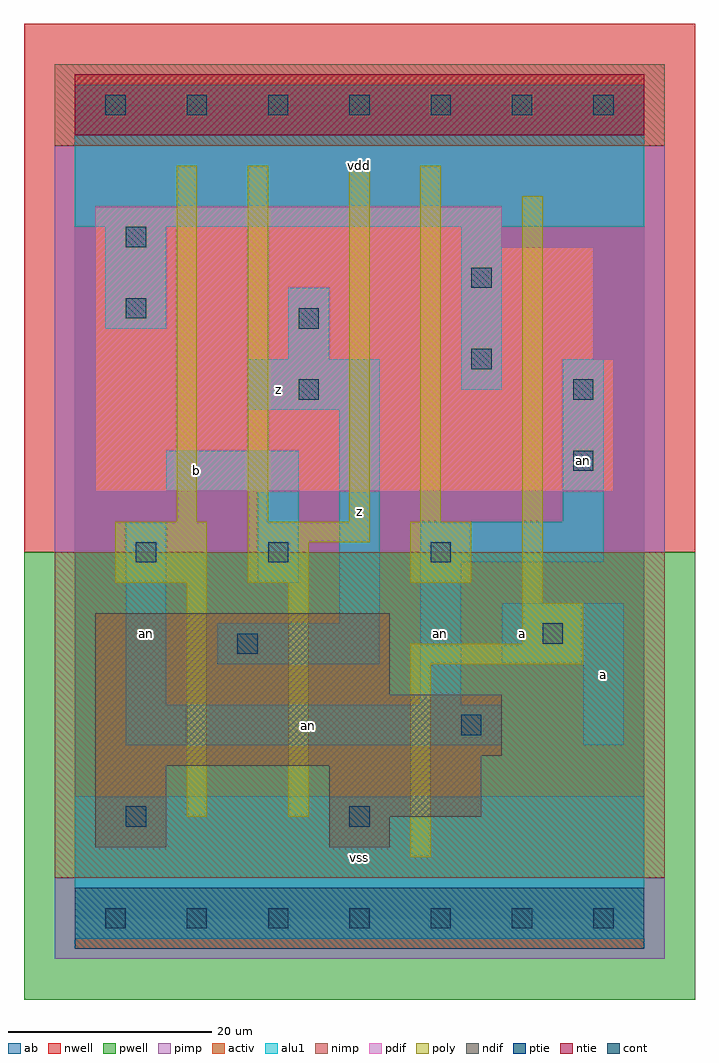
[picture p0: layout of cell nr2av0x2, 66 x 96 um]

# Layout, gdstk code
import gdstk
lib = gdstk.Library(unit=1e-6, precision=1e-09)
def R(c, l, rs):  # rectangles x0, y0, x1, y1
    for r in rs: c.add(gdstk.rectangle(r[:2], r[2:], *l))
def A(c, l, x, y, w, h, nx, ny, dx, dy):  # array of equal rectangles
    R(c, l, [(x+i*dx, y+j*dy, x+i*dx+w, y+j*dy+h) for i in range(nx) for j in range(ny)])
ndif = (3, 0)
pdif = (4, 0)
ntie = (5, 0)
ptie = (6, 0)
cont = (25, 0)
pwell = (41, 0)
nwell = (42, 0)
activ = (43, 0)
pimp = (44, 0)
nimp = (45, 0)
poly = (46, 0)
alu1 = (49, 0)
ab = (63, 0)

nr2av0x2 = lib.new_cell('nr2av0x2')
R(nr2av0x2, ndif, [(2,7,9,15), (25,7,31,10), (25,10,40,15), (2,15,40,16), (2,16,42,22), (2,22,31,30)])
R(nr2av0x2, pdif, [(2,42,53,55), (2,55,51,66), (2,66,42,70)])
R(nr2av0x2, ntie, [(0,77,56,83)])
R(nr2av0x2, ptie, [(0,-3,56,3)])
A(nr2av0x2, cont, 3, -1, 2, 2, 7, 2, 8, 80)
R(nr2av0x2, cont, [(5,9,7,11), (27,9,29,11), (38,18,40,20), (16,26,18,28), (46,27,48,29), (6,35,8,37), (19,35,21,37), (35,35,37,37), (49,44,51,46), (22,51,24,53), (49,51,51,53), (39,54,41,56), (22,58,24,60), (5,59,7,61), (39,62,41,64), (5,66,7,68)])
R(nr2av0x2, pwell, [(-5,-8,61,36)])
R(nr2av0x2, nwell, [(-5,36,61,88)])
R(nr2av0x2, activ, [(0,-3,56,3), (2,7,9,15), (25,7,31,10), (25,10,40,15), (2,15,40,16), (2,16,42,22), (2,22,31,30), (2,42,53,55), (2,55,51,66), (2,66,42,70), (0,77,56,83)])
R(nr2av0x2, pimp, [(-2,-4,58,4), (-2,36,58,76)])
R(nr2av0x2, nimp, [(-2,4,58,36), (-2,76,58,84)])
R(nr2av0x2, poly, [(33,6,35,25), (11,10,13,33), (21,10,23,33), (33,25,50,27), (44,27,50,31), (44,31,46,71), (4,33,13,39), (17,33,23,37), (33,33,39,39), (17,37,29,39), (10,39,12,74), (17,39,19,74), (27,39,29,74), (34,39,36,74)])
R(nr2av0x2, alu1, [(0,-2,56,12), (5,17,42,21), (50,17,54,25), (5,21,9,39), (34,21,38,35), (14,25,30,29), (42,25,54,31), (26,29,30,50), (18,33,22,42), (34,35,52,39), (48,39,52,55), (9,42,22,46), (17,50,30,55), (38,52,42,68), (21,55,25,62), (3,58,9,68), (0,68,56,82)])
R(nr2av0x2, ab, [(0,0,56,80)])
nr2av0x2.add(gdstk.Label('an', (7,28), layer=49, texttype=0))
nr2av0x2.add(gdstk.Label('an', (36,28), layer=49, texttype=0))
nr2av0x2.add(gdstk.Label('an', (23,19), layer=49, texttype=0))
nr2av0x2.add(gdstk.Label('an', (50,45), layer=49, texttype=0))
nr2av0x2.add(gdstk.Label('b', (12,44), layer=49, texttype=0))
nr2av0x2.add(gdstk.Label('z', (20,52), layer=49, texttype=0))
nr2av0x2.add(gdstk.Label('vss', (28,6), layer=49, texttype=0))
nr2av0x2.add(gdstk.Label('z', (28,40), layer=49, texttype=0))
nr2av0x2.add(gdstk.Label('vdd', (28,74), layer=49, texttype=0))
nr2av0x2.add(gdstk.Label('a', (44,28), layer=49, texttype=0))
nr2av0x2.add(gdstk.Label('a', (52,24), layer=49, texttype=0))

lib.write_gds('nr2av0x2.gds')
